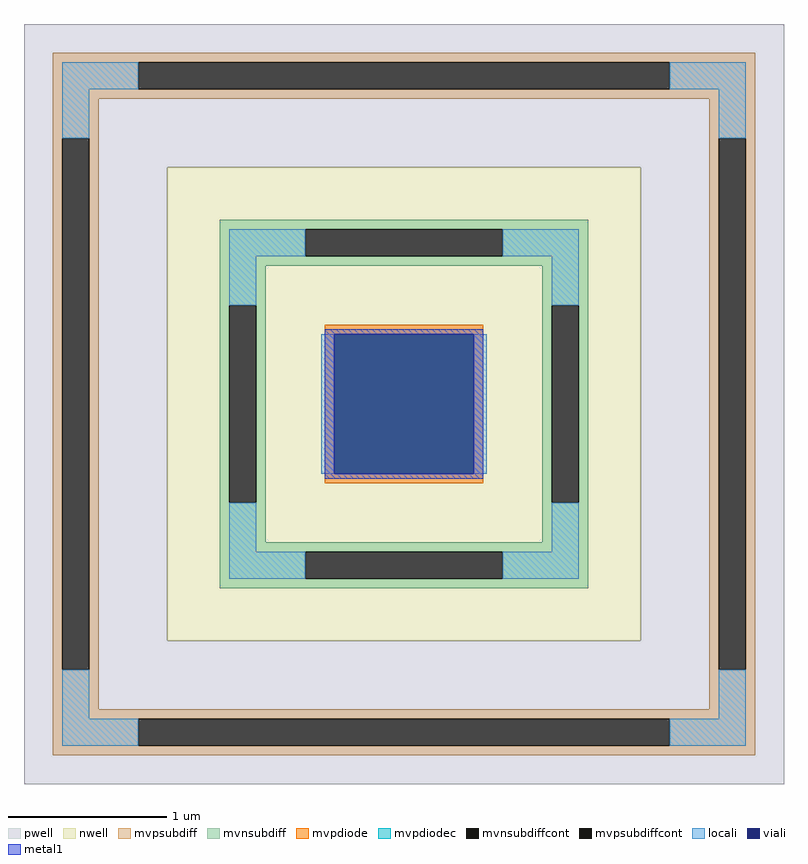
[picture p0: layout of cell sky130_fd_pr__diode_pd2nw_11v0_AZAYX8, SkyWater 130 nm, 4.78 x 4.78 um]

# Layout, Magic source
magic
tech sky130A
<< nwell >>
rect -149 -149 149 149
<< pwell >>
rect -239 149 239 239
rect -239 -149 -149 149
rect 149 -149 239 149
rect -239 -239 239 -149
<< mvpsubdiff >>
rect -221 215 221 221
rect -221 198 -167 215
rect 167 198 221 215
rect -221 192 221 198
rect -221 167 -192 192
rect -221 -167 -215 167
rect -198 -167 -192 167
rect 192 167 221 192
rect -221 -192 -192 -167
rect 192 -167 198 167
rect 215 -167 221 167
rect 192 -192 221 -167
rect -221 -198 221 -192
rect -221 -215 -167 -198
rect 167 -215 221 -198
rect -221 -221 221 -215
<< mvnsubdiff >>
rect -116 110 116 116
rect -116 93 -62 110
rect 62 93 116 110
rect -116 87 116 93
rect -116 62 -87 87
rect -116 -62 -110 62
rect -93 -62 -87 62
rect 87 62 116 87
rect -116 -87 -87 -62
rect 87 -62 93 62
rect 110 -62 116 62
rect 87 -87 116 -62
rect -116 -93 116 -87
rect -116 -110 -62 -93
rect 62 -110 116 -93
rect -116 -116 116 -110
<< mvpsubdiffcont >>
rect -167 198 167 215
rect -215 -167 -198 167
rect 198 -167 215 167
rect -167 -215 167 -198
<< mvnsubdiffcont >>
rect -62 93 62 110
rect -110 -62 -93 62
rect 93 -62 110 62
rect -62 -110 62 -93
<< mvpdiode >>
rect -50 44 50 50
rect -50 -44 -44 44
rect 44 -44 50 44
rect -50 -50 50 -44
<< mvpdiodec >>
rect -44 -44 44 44
<< locali >>
rect -215 198 -167 215
rect 167 198 215 215
rect -215 167 -198 198
rect 198 167 215 198
rect -110 93 -62 110
rect 62 93 110 110
rect -110 62 -93 93
rect 93 62 110 93
rect -52 -44 -44 44
rect 44 -44 52 44
rect -110 -93 -93 -62
rect 93 -93 110 -62
rect -110 -110 -62 -93
rect 62 -110 110 -93
rect -215 -198 -198 -167
rect 198 -198 215 -167
rect -215 -215 -167 -198
rect 167 -215 215 -198
<< viali >>
rect -44 -44 44 44
<< metal1 >>
rect -50 44 50 47
rect -50 -44 -44 44
rect 44 -44 50 44
rect -50 -47 50 -44
<< properties >>
string gencell sky130_fd_pr__diode_pd2nw_11v0
string FIXED_BBOX -101 -101 101 101
string parameters w 1 l 1 area 1.0 peri 4.0 nx 1 ny 1 dummy 0 lmin 0.45 wmin 0.45 elc 1 erc 1 etc 1 ebc 1 glc 1 grc 1 gtc 1 gbc 1 doverlap 0 compatible {sky130_fd_pr__diode_pd2nw_05v5 sky130_fd_pr__diode_pd2nw_05v5_lvt  sky130_fd_pr__diode_pd2nw_05v5_hvt sky130_fd_pr__diode_pd2nw_11v0} full_metal 1 vias 1 viagb 0 viagt 0 viagl 0 viagr 0
string library sky130
<< end >>
